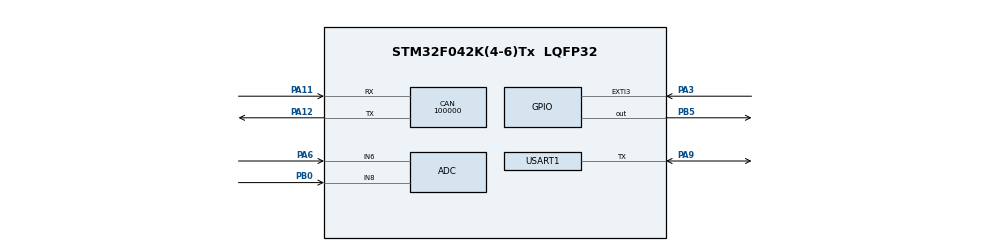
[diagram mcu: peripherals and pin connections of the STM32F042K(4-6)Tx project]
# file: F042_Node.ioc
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ADC.ContinuousConvMode=ENABLE
ADC.DMAContinuousRequests=ENABLE
ADC.EOCSelection=ADC_EOC_SEQ_CONV
ADC.SamplingTime=ADC_SAMPLETIME_239CYCLES_5
CAN.BS1=CAN_BS1_2TQ
CAN.BS2=CAN_BS2_2TQ
CAN.CalculateBaudRate=100000
CAN.CalculateTimeBit=10000
CAN.CalculateTimeQuantum=2000.0
Dma.ADC.0.Direction=DMA_PERIPH_TO_MEMORY
Dma.ADC.0.Instance=DMA1_Channel1
Dma.ADC.0.MemDataAlignment=DMA_MDATAALIGN_WORD
Dma.ADC.0.MemInc=DMA_MINC_ENABLE
Dma.ADC.0.Mode=DMA_CIRCULAR
Dma.ADC.0.PeriphDataAlignment=DMA_PDATAALIGN_WORD
Dma.ADC.0.PeriphInc=DMA_PINC_DISABLE
Dma.ADC.0.Priority=DMA_PRIORITY_LOW
Dma.Request0=ADC
Mcu.Family=STM32F0
Mcu.Name=STM32F042K(4-6)Tx
Mcu.Package=LQFP32
NVIC.ADC1_IRQn=true\:0\:0\:false\:false\:true\:true\:true\:true
NVIC.CEC_CAN_IRQn=true\:0\:0\:false\:false\:true\:true\:true\:true
NVIC.DMA1_Channel1_IRQn=true\:0\:0\:false\:false\:true\:false\:true\:true
NVIC.EXTI2_3_IRQn=true\:0\:0\:false\:false\:true\:true\:true\:true
NVIC.TIM16_IRQn=true\:2\:0\:true\:false\:true\:true\:true\:true
NVIC.USART1_IRQn=true\:0\:0\:false\:false\:true\:true\:true\:true
PA11.Mode=CAN_Activate
PA11.Signal=CAN_RX
PA12.Mode=CAN_Activate
PA12.Signal=CAN_TX
PA13.Mode=Serial_Wire
PA13.Signal=SYS_SWDIO
PA14.Mode=Serial_Wire
PA14.Signal=SYS_SWCLK
PA3.GPIO_ModeDefaultEXTI=GPIO_MODE_IT_RISING_FALLING
PA3.GPIO_PuPd=GPIO_PULLDOWN
PA3.Signal=GPXTI3
PA6.Mode=IN6
PA6.Signal=ADC_IN6
PA9.Mode=Half_duplex(single_wire_mode)
PA9.Signal=USART1_TX
PB0.Mode=IN8
PB0.Signal=ADC_IN8
PB5.Signal=GPIO_Output
ProjectManager.HeapSize=0x800
ProjectManager.StackSize=0x400
ProjectManager.TargetToolchain=MDK-ARM V5.32
TIM16.Period=999
TIM16.Prescaler=8
USART1.BaudRate=9600
USART1.VirtualMode-Half_duplex(single_wire_mode)=VM_ASYNC
VP_ADC_TempSens_Input.Mode=IN-TempSens
VP_ADC_Vref_Input.Mode=IN-Vrefint
VP_CRC_VS_CRC.Mode=CRC_Activate
VP_RTC_VS_RTC_Activate.Mode=RTC_Enabled
VP_RTC_VS_RTC_Calendar.Mode=RTC_Calendar
VP_TIM16_VS_ClockSourceINT.Mode=Enable_Timer
board=custom

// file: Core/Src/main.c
/* USER CODE BEGIN Header */
/**
  ******************************************************************************
  * @file           : main.c
  * @brief          : Main program body
  ******************************************************************************
  * @attention
  *
  * Copyright (c) 2023 STMicroelectronics.
  * All rights reserved.
  *
  * This software is licensed under terms that can be found in the LICENSE file
  * in the root directory of this software component.
  * If no LICENSE file comes with this software, it is provided AS-IS.
  *
  ******************************************************************************
  */
/* USER CODE END Header */
#include "main.h"

/* USER CODE BEGIN Includes */
#include "usr_system.h"
#include "usr_lin.h"
#include "usr_can.h"
/* USER CODE END Includes */

ADC_HandleTypeDef hadc;
DMA_HandleTypeDef hdma_adc;

CAN_HandleTypeDef hcan;

CRC_HandleTypeDef hcrc;

RTC_HandleTypeDef hrtc;

TIM_HandleTypeDef htim16;

UART_HandleTypeDef huart1;

void SystemClock_Config(void);
static void MX_GPIO_Init(void);
static void MX_DMA_Init(void);
static void MX_CAN_Init(void);
static void MX_CRC_Init(void);
static void MX_RTC_Init(void);
static void MX_USART1_UART_Init(void);
static void MX_TIM16_Init(void);
static void MX_ADC_Init(void);
/* USER CODE BEGIN PFP */
void CAN_Config(void);
/* USER CODE END PFP */

/* USER CODE BEGIN 0 */
	int8_t temp;
	double refVolt, tempVolt;
/* USER CODE END 0 */

int main(void)
{

  /* MCU Configuration--------------------------------------------------------*/

  /* Reset of all peripherals, Initializes the Flash interface and the Systick. */
  HAL_Init();

  /* Configure the system clock */
  SystemClock_Config();

  /* Initialize all configured peripherals */
  MX_GPIO_Init();
  MX_DMA_Init();
  MX_CAN_Init();
  MX_CRC_Init();
  MX_RTC_Init();
  MX_USART1_UART_Init();
  MX_TIM16_Init();
  MX_ADC_Init();
  /* USER CODE BEGIN 2 */

	UsrSystemInit();

  /* USER CODE END 2 */

  /* Infinite loop */
  while (1)
  {

    /* USER CODE BEGIN 3 */

		UsrSystemGeneral();
//		HAL_GPIO_WritePin(GPIOB,GPIO_PIN_5, GPIO_PIN_SET);
//		HAL_Delay(250);
//		HAL_GPIO_WritePin(GPIOB,GPIO_PIN_5, GPIO_PIN_RESET);
//		HAL_Delay(250);

  }
  /* USER CODE END 3 */
}

void SystemClock_Config(void)
{
  RCC_OscInitTypeDef RCC_OscInitStruct = {0};
  RCC_ClkInitTypeDef RCC_ClkInitStruct = {0};
  RCC_PeriphCLKInitTypeDef PeriphClkInit = {0};

  /** Initializes the RCC Oscillators according to the specified parameters
  * in the RCC_OscInitTypeDef structure.
  */
  RCC_OscInitStruct.OscillatorType = RCC_OSCILLATORTYPE_HSI|RCC_OSCILLATORTYPE_HSI14
                              |RCC_OSCILLATORTYPE_LSI;
  RCC_OscInitStruct.HSIState = RCC_HSI_ON;
  RCC_OscInitStruct.HSI14State = RCC_HSI14_ON;
  RCC_OscInitStruct.HSICalibrationValue = RCC_HSICALIBRATION_DEFAULT;
  RCC_OscInitStruct.HSI14CalibrationValue = 16;
  RCC_OscInitStruct.LSIState = RCC_LSI_ON;
  RCC_OscInitStruct.PLL.PLLState = RCC_PLL_NONE;
  if (HAL_RCC_OscConfig(&RCC_OscInitStruct) != HAL_OK)
  {
    Error_Handler();
  }

  /** Initializes the CPU, AHB and APB buses clocks
  */
  RCC_ClkInitStruct.ClockType = RCC_CLOCKTYPE_HCLK|RCC_CLOCKTYPE_SYSCLK
                              |RCC_CLOCKTYPE_PCLK1;
  RCC_ClkInitStruct.SYSCLKSource = RCC_SYSCLKSOURCE_HSI;
  RCC_ClkInitStruct.AHBCLKDivider = RCC_SYSCLK_DIV1;
  RCC_ClkInitStruct.APB1CLKDivider = RCC_HCLK_DIV1;

  if (HAL_RCC_ClockConfig(&RCC_ClkInitStruct, FLASH_LATENCY_0) != HAL_OK)
  {
    Error_Handler();
  }
  PeriphClkInit.PeriphClockSelection = RCC_PERIPHCLK_USART1|RCC_PERIPHCLK_RTC;
  PeriphClkInit.Usart1ClockSelection = RCC_USART1CLKSOURCE_PCLK1;
  PeriphClkInit.RTCClockSelection = RCC_RTCCLKSOURCE_LSI;
  if (HAL_RCCEx_PeriphCLKConfig(&PeriphClkInit) != HAL_OK)
  {
    Error_Handler();
  }
}

static void MX_ADC_Init(void)
{

  ADC_ChannelConfTypeDef sConfig = {0};

  /** Configure the global features of the ADC (Clock, Resolution, Data Alignment and number of conversion)
  */
  hadc.Instance = ADC1;
  hadc.Init.ClockPrescaler = ADC_CLOCK_ASYNC_DIV1;
  hadc.Init.Resolution = ADC_RESOLUTION_12B;
  hadc.Init.DataAlign = ADC_DATAALIGN_RIGHT;
  hadc.Init.ScanConvMode = ADC_SCAN_DIRECTION_FORWARD;
  hadc.Init.EOCSelection = ADC_EOC_SEQ_CONV;
  hadc.Init.LowPowerAutoWait = DISABLE;
  hadc.Init.LowPowerAutoPowerOff = DISABLE;
  hadc.Init.ContinuousConvMode = ENABLE;
  hadc.Init.DiscontinuousConvMode = DISABLE;
  hadc.Init.ExternalTrigConv = ADC_SOFTWARE_START;
  hadc.Init.ExternalTrigConvEdge = ADC_EXTERNALTRIGCONVEDGE_NONE;
  hadc.Init.DMAContinuousRequests = ENABLE;
  hadc.Init.Overrun = ADC_OVR_DATA_PRESERVED;
  if (HAL_ADC_Init(&hadc) != HAL_OK)
  {
    Error_Handler();
  }

  /** Configure for the selected ADC regular channel to be converted.
  */
  sConfig.Channel = ADC_CHANNEL_6;
  sConfig.Rank = ADC_RANK_CHANNEL_NUMBER;
  sConfig.SamplingTime = ADC_SAMPLETIME_239CYCLES_5;
  if (HAL_ADC_ConfigChannel(&hadc, &sConfig) != HAL_OK)
  {
    Error_Handler();
  }

  /** Configure for the selected ADC regular channel to be converted.
  */
  sConfig.Channel = ADC_CHANNEL_8;
  if (HAL_ADC_ConfigChannel(&hadc, &sConfig) != HAL_OK)
  {
    Error_Handler();
  }

  /** Configure for the selected ADC regular channel to be converted.
  */
  sConfig.Channel = ADC_CHANNEL_TEMPSENSOR;
  if (HAL_ADC_ConfigChannel(&hadc, &sConfig) != HAL_OK)
  {
    Error_Handler();
  }

  /** Configure for the selected ADC regular channel to be converted.
  */
  sConfig.Channel = ADC_CHANNEL_VREFINT;
  if (HAL_ADC_ConfigChannel(&hadc, &sConfig) != HAL_OK)
  {
    Error_Handler();
  }

}

static void MX_CAN_Init(void)
{

  hcan.Instance = CAN;
  hcan.Init.Prescaler = 16;
  hcan.Init.Mode = CAN_MODE_NORMAL;
  hcan.Init.SyncJumpWidth = CAN_SJW_1TQ;
  hcan.Init.TimeSeg1 = CAN_BS1_2TQ;
  hcan.Init.TimeSeg2 = CAN_BS2_2TQ;
  hcan.Init.TimeTriggeredMode = DISABLE;
  hcan.Init.AutoBusOff = DISABLE;
  hcan.Init.AutoWakeUp = DISABLE;
  hcan.Init.AutoRetransmission = DISABLE;
  hcan.Init.ReceiveFifoLocked = DISABLE;
  hcan.Init.TransmitFifoPriority = DISABLE;
  if (HAL_CAN_Init(&hcan) != HAL_OK)
  {
    Error_Handler();
  }
  /* USER CODE BEGIN CAN_Init 2 */
	CAN_FilterTypeDef  sFilterConfig;

  sFilterConfig.FilterBank = 0;
  sFilterConfig.FilterMode = CAN_FILTERMODE_IDMASK;
  sFilterConfig.FilterScale = CAN_FILTERSCALE_32BIT;
  sFilterConfig.FilterIdHigh = 0x0000;
  sFilterConfig.FilterIdLow = 0x0000;
  sFilterConfig.FilterMaskIdHigh = 0x0000;
  sFilterConfig.FilterMaskIdLow = 0x0000;
  sFilterConfig.FilterFIFOAssignment = CAN_RX_FIFO0;
  sFilterConfig.FilterActivation = ENABLE;
  sFilterConfig.SlaveStartFilterBank = 14;

  if (HAL_CAN_ConfigFilter(&hcan, &sFilterConfig) != HAL_OK)
  {
    /* Filter configuration Error */
    Error_Handler();
  }
  /* USER CODE END CAN_Init 2 */

}

static void MX_CRC_Init(void)
{

  hcrc.Instance = CRC;
  hcrc.Init.DefaultInitValueUse = DEFAULT_INIT_VALUE_ENABLE;
  hcrc.Init.InputDataInversionMode = CRC_INPUTDATA_INVERSION_NONE;
  hcrc.Init.OutputDataInversionMode = CRC_OUTPUTDATA_INVERSION_DISABLE;
  hcrc.InputDataFormat = CRC_INPUTDATA_FORMAT_BYTES;
  if (HAL_CRC_Init(&hcrc) != HAL_OK)
  {
    Error_Handler();
  }

}

static void MX_RTC_Init(void)
{

  RTC_TimeTypeDef sTime = {0};
  RTC_DateTypeDef sDate = {0};

  /** Initialize RTC Only
  */
  hrtc.Instance = RTC;
  hrtc.Init.HourFormat = RTC_HOURFORMAT_24;
  hrtc.Init.AsynchPrediv = 127;
  hrtc.Init.SynchPrediv = 255;
  hrtc.Init.OutPut = RTC_OUTPUT_DISABLE;
  hrtc.Init.OutPutPolarity = RTC_OUTPUT_POLARITY_HIGH;
  hrtc.Init.OutPutType = RTC_OUTPUT_TYPE_OPENDRAIN;
  if (HAL_RTC_Init(&hrtc) != HAL_OK)
  {
    Error_Handler();
  }

  /** Initialize RTC and set the Time and Date
  */
  sTime.Hours = 0x0;
  sTime.Minutes = 0x0;
  sTime.Seconds = 0x0;
  sTime.DayLightSaving = RTC_DAYLIGHTSAVING_NONE;
  sTime.StoreOperation = RTC_STOREOPERATION_RESET;
  if (HAL_RTC_SetTime(&hrtc, &sTime, RTC_FORMAT_BCD) != HAL_OK)
  {
    Error_Handler();
  }
  sDate.WeekDay = RTC_WEEKDAY_MONDAY;
  sDate.Month = RTC_MONTH_JANUARY;
  sDate.Date = 0x1;
  sDate.Year = 0x0;

  if (HAL_RTC_SetDate(&hrtc, &sDate, RTC_FORMAT_BCD) != HAL_OK)
  {
    Error_Handler();
  }

}

static void MX_TIM16_Init(void)
{

  htim16.Instance = TIM16;
  htim16.Init.Prescaler = 8;
  htim16.Init.CounterMode = TIM_COUNTERMODE_UP;
  htim16.Init.Period = 999;
  htim16.Init.ClockDivision = TIM_CLOCKDIVISION_DIV1;
  htim16.Init.RepetitionCounter = 0;
  htim16.Init.AutoReloadPreload = TIM_AUTORELOAD_PRELOAD_DISABLE;
  if (HAL_TIM_Base_Init(&htim16) != HAL_OK)
  {
    Error_Handler();
  }

}

static void MX_USART1_UART_Init(void)
{

  huart1.Instance = USART1;
  huart1.Init.BaudRate = 9600;
  huart1.Init.WordLength = UART_WORDLENGTH_8B;
  huart1.Init.StopBits = UART_STOPBITS_1;
  huart1.Init.Parity = UART_PARITY_NONE;
  huart1.Init.Mode = UART_MODE_TX_RX;
  huart1.Init.HwFlowCtl = UART_HWCONTROL_NONE;
  huart1.Init.OverSampling = UART_OVERSAMPLING_16;
  huart1.Init.OneBitSampling = UART_ONE_BIT_SAMPLE_DISABLE;
  huart1.AdvancedInit.AdvFeatureInit = UART_ADVFEATURE_NO_INIT;
  if (HAL_HalfDuplex_Init(&huart1) != HAL_OK)
  {
    Error_Handler();
  }

}

static void MX_DMA_Init(void)
{

  /* DMA controller clock enable */
  __HAL_RCC_DMA1_CLK_ENABLE();

  /* DMA interrupt init */
  /* DMA1_Channel1_IRQn interrupt configuration */
  HAL_NVIC_SetPriority(DMA1_Channel1_IRQn, 0, 0);
  HAL_NVIC_EnableIRQ(DMA1_Channel1_IRQn);

}

static void MX_GPIO_Init(void)
{
  GPIO_InitTypeDef GPIO_InitStruct = {0};

  /* GPIO Ports Clock Enable */
  __HAL_RCC_GPIOA_CLK_ENABLE();
  __HAL_RCC_GPIOB_CLK_ENABLE();

  /*Configure GPIO pin Output Level */
  HAL_GPIO_WritePin(GPIOB, GPIO_PIN_5, GPIO_PIN_RESET);

  /*Configure GPIO pin : PA3 */
  GPIO_InitStruct.Pin = GPIO_PIN_3;
  GPIO_InitStruct.Mode = GPIO_MODE_IT_RISING_FALLING;
  GPIO_InitStruct.Pull = GPIO_PULLDOWN;
  HAL_GPIO_Init(GPIOA, &GPIO_InitStruct);

  /*Configure GPIO pin : PB5 */
  GPIO_InitStruct.Pin = GPIO_PIN_5;
  GPIO_InitStruct.Mode = GPIO_MODE_OUTPUT_PP;
  GPIO_InitStruct.Pull = GPIO_NOPULL;
  GPIO_InitStruct.Speed = GPIO_SPEED_FREQ_LOW;
  HAL_GPIO_Init(GPIOB, &GPIO_InitStruct);

  /* EXTI interrupt init*/
  HAL_NVIC_SetPriority(EXTI2_3_IRQn, 0, 0);
  HAL_NVIC_EnableIRQ(EXTI2_3_IRQn);

}

void Error_Handler(void)
{
  /* USER CODE BEGIN Error_Handler_Debug */
  /* User can add his own implementation to report the HAL error return state */
  __disable_irq();
  while (1)
  {
			;
  }
  /* USER CODE END Error_Handler_Debug */
}
